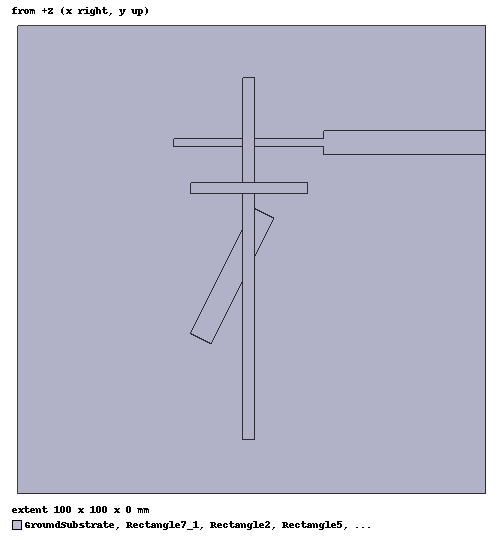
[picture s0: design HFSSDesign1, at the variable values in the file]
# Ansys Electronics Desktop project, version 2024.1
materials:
  vacuum: permittivity=1

design HFSSDesign1 (HFSS, HFSS Terminal Network, model units mm)
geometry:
  Ground = rectangle(corner=(-50mm, -50mm, 0mm), x_size=100mm, y_size=100mm)
  Rectangle2 = rectangle(corner=(50mm, 27.46mm, 0mm), x_size=-66.6mm, y_size=-4.92mm)
  Rectangle3 = rectangle(corner=(-16.6mm, 24.2mm, 0mm), x_size=32mm, y_size=-1.66mm)
  Rectangle4 = rectangle(corner=(-16.6mm, 27.46mm, 0mm), x_size=32mm, y_size=-1.66mm)
  GroundSubstrate [vacuum] = box(corner=(-50mm, 50mm, 0mm), size=(100mm, -100mm, 0mm))
  Rectangle2.subtract(Rectangle3, Rectangle4)
  Rectangle5 = rectangle(corner=(-1.85mm, 38.8mm, 0mm), x_size=2.5mm, y_size=-77.2mm)
  Rectangle6 = rectangle(corner=(-13.1mm, 14mm, 0mm), x_size=25mm, y_size=2.5mm)
  Rectangle7 = rectangle(corner=(10mm, -5mm, 0mm), x_size=5mm, y_size=-30mm)
  Rectangle7_1 = Rectangle7.duplicate_mirror(point=(-30mm, 5mm, 0mm), normal=(0.97341717mm, -0.22903933mm, 0mm))
  Rectangle7.delete()
  Rectangle7_1.move(75mm, -5mm, 0mm)
